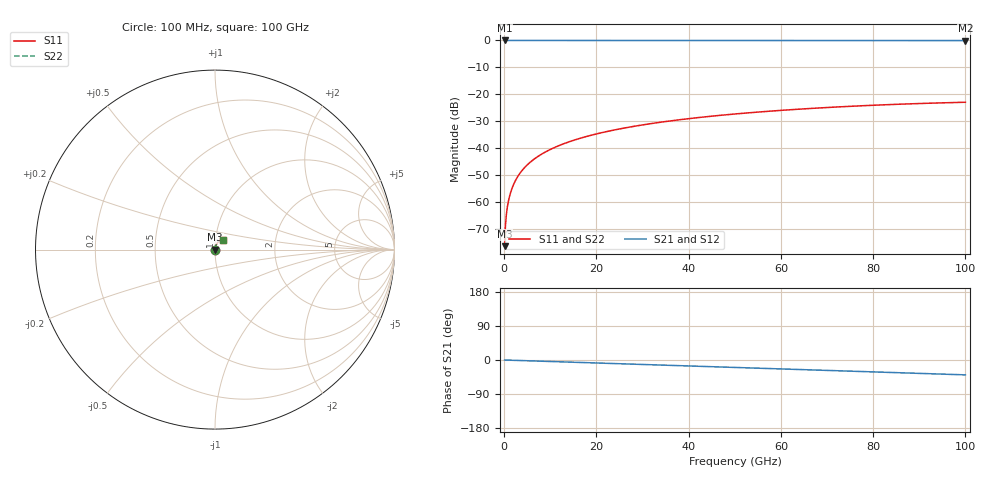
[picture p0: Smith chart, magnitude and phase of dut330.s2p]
! Touchstone file exported from HFSS 2026.1.0
!  File:  C:/ffzhzh/LocalFiles/Ansys_Project_Files/temp_train_TSV_330_1783509663_55944.aedt
!  Generated:  07:22:13 PM Jul  8, 2026
!  Design:  TSV
!  Project:  temp_train_TSV_330_1783509663_55944
! Variables:
!  h_bsmrdl = 2um
!  h_ox = 20um
!  h_rdl = 5um
!  h_sub = 73.6um
!  h_tmrdl = 5um
!  h_tsv = 73.6um
!  h_via = 3um
!  l_bsmrdl = 300um
!  l_sub = 425um
!  l_tmrdl = 200um
!  m_sub = 200um
!  pitch = 57.86um
!  r_tsv = 12.5um
!  s_tmrdl = 10um
!  w_bsmrdl = 18um
!  w_sub = 500um
!  w_tmrdl = 12um
!  x_tsv_center1 = 206um
!  x_tsv_center2 = 524um
!  x_tsv_center3 = 736um
!  x_tsv_center4 = 1054um
!  x_tsv_center5 = 1266um
!  x_tsv_center6 = 1584um
# GHz S MA R 50.000000
! Terminal data exported
! Port[1] = TSV1_1_T1
! Port[2] = TSV1_1_T2
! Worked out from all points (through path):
!   1000 points, 100 MHz to 100 GHz, reference 50 ohm
!   highest |S21| = 0.00 dB at 100 MHz (marker M1); lowest = 0.0 dB at 100 GHz (marker M2)
!   group delay of S21, straight-line fit = 1.09 ps
!   lowest |S11| = -76.2 dB at 100 MHz (marker M3), VSWR 1.00, Z = 50 + j0.013 ohm
!   |S11| at or under -10 dB: start of sweep to end of sweep
!   |S22| runs from -76.2 to -22.9 dB; largest |S21 - S12| = 4.1e-15
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0.1  0.0001551 57.1  0.9999 -0.0  0.9999 -0.0  0.0001551 57.1
! Gamma 0 0 0 0
! Port Impedance 50 0 50 0
0.3  0.000394 73.1  0.9999 -0.1  0.9999 -0.1  0.000394 73.1
0.7  0.0008297 76.8  0.9998 -0.3  0.9998 -0.3  0.0008297 76.8
0.8  0.0009314 77.3  0.9998 -0.3  0.9998 -0.3  0.0009314 77.3
1  0.001131 78.2  0.9998 -0.4  0.9998 -0.4  0.001131 78.2
1.3  0.001427 79.3  0.9997 -0.5  0.9997 -0.5  0.001427 79.2
1.8  0.001916 80.4  0.9997 -0.7  0.9997 -0.7  0.001916 80.4
2.3  0.002401 81.1  0.9997 -0.9  0.9997 -0.9  0.002401 81.1
3  0.003073 81.7  0.9996 -1.2  0.9996 -1.2  0.003073 81.7
3.8  0.003831 82.0  0.9996 -1.5  0.9996 -1.5  0.003831 82.0
4.8  0.004769 82.3  0.9995 -1.9  0.9995 -1.9  0.004769 82.3
6  0.005887 82.3  0.9994 -2.4  0.9994 -2.4  0.005887 82.3
8.8  0.008475 82.1  0.9993 -3.5  0.9993 -3.5  0.008475 82.1
12.4  0.01177 81.3  0.9991 -4.9  0.9991 -4.9  0.01177 81.3
16.8  0.01573 80.0  0.999 -6.6  0.999 -6.6  0.01573 80.0
24.2  0.02228 77.7  0.9986 -9.5  0.9986 -9.5  0.02228 77.7
33.4  0.03018 74.5  0.9982 -13.1  0.9982 -13.1  0.03018 74.5
41.2  0.0366 71.7  0.9979 -16.1  0.9979 -16.1  0.0366 71.7
50.1  0.04355 68.4  0.9974 -19.6  0.9974 -19.6  0.04355 68.4
66.7  0.05523 62.1  0.9966 -26.1  0.9966 -26.1  0.05523 62.1
83.4  0.06486 55.7  0.9957 -32.7  0.9957 -32.7  0.06486 55.7
100  0.07172 49.4  0.9949 -39.2  0.9949 -39.2  0.07172 49.4
